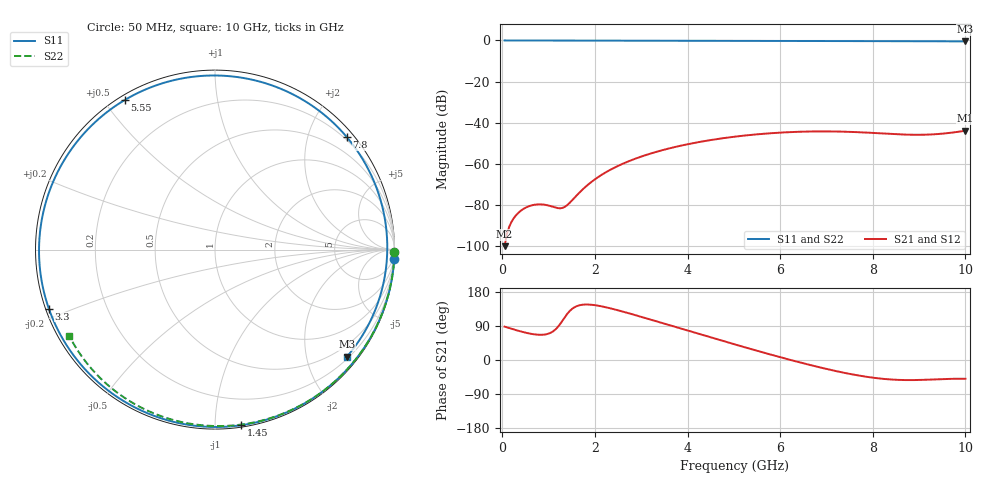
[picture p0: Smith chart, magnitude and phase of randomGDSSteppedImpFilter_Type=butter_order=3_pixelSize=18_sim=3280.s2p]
! freq	dB(S11)	phase(S11)	dB(S12)	phase(S12)
!  dB(S21)	phase(S21)	dB(S22)	phase(S22)
!S-par simulation data
#  GHz  S  DB  R 50
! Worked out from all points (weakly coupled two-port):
!   200 points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, 50 MHz to 10 GHz, reference 50 ohm
!   highest |S21| = -43.88 dB at 10 GHz (marker M1); lowest = -99.9 dB at 50 MHz (marker M2)
!   lowest |S11| = -0.5 dB at 10 GHz (marker M3), VSWR 36.37, Z = 12.2 - j140 ohm
!   |S11| at or under -10 dB: nowhere
!   |S22| runs from -0.5 to 0.0 dB; largest |S21 - S12| = 0
!   S11 on the Smith chart (normalised r, x): 50 MHz: 0, -38; 1.45 GHz: 0.01, -1.16; 3.3 GHz: 0.01, -0.17; 5.55 GHz: 0.02, +0.56; 7.8 GHz: 0.15, +2.71; 10 GHz: 0.24, -2.80
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0.05  -0.00 -3.0  -99.94 88.1  -99.94 88.1  -0.00 -0.9
0.4  -0.03 -23.9  -82.71 75.3  -82.71 75.3  -0.01 -6.9
0.8  -0.06 -46.9  -79.61 66.5  -79.61 66.5  -0.02 -13.8
1.1  -0.08 -63.4  -80.87 75.8  -80.87 75.8  -0.02 -18.9
1.4  -0.09 -79.1  -80.03 121.4  -80.03 121.4  -0.03 -24.0
1.45  -0.09 -81.6  -79.00 128.5  -79.00 128.5  -0.03 -24.8
1.75  -0.11 -96.3  -72.06 146.1  -72.06 146.1  -0.04 -29.9
2.05  -0.12 -110.1  -66.67 143.7  -66.67 143.7  -0.04 -34.9
2.4  -0.13 -125.2  -62.04 134.3  -62.04 134.3  -0.05 -40.6
2.85  -0.14 -143.4  -57.62 119.2  -57.62 119.2  -0.06 -47.9
3.3  -0.15 -160.5  -54.28 103.1  -54.28 103.1  -0.07 -55.1
3.4  -0.16 -164.1  -53.64 99.4  -53.64 99.4  -0.08 -56.7
4.2  -0.18 167.5  -49.55 70.4  -49.55 70.4  -0.10 -69.1
5.05  -0.22 138.3  -46.66 40.1  -46.66 40.1  -0.13 -81.8
5.55  -0.23 121.1  -45.51 22.7  -45.51 22.7  -0.15 -89.1
6.15  -0.26 100.2  -44.60 2.5  -44.60 2.5  -0.17 -97.6
6.7  -0.27 80.6  -44.21 -14.8  -44.21 -14.8  -0.21 -105.3
7.25  -0.29 60.6  -44.25 -30.4  -44.25 -30.4  -0.24 -112.8
7.8  -0.30 40.4  -44.69 -43.1  -44.69 -43.1  -0.28 -120.2
8.35  -0.32 20.2  -45.36 -51.1  -45.36 -51.1  -0.33 -127.5
9.15  -0.38 -8.8  -45.77 -52.1  -45.77 -52.1  -0.41 -138.1
10  -0.48 -39.1  -43.88 -49.6  -43.88 -49.6  -0.51 -149.4
